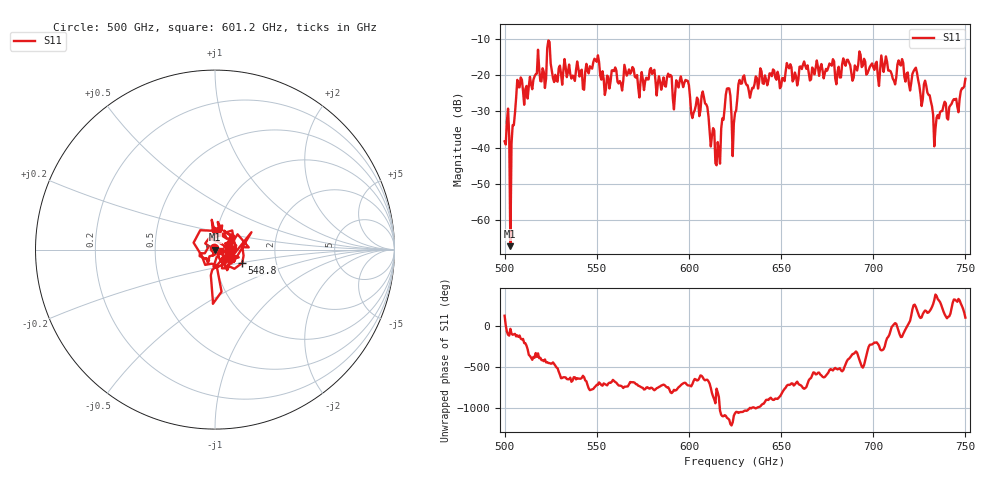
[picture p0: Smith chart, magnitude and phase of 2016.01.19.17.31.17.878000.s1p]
!Created with skrf (http://scikit-rf.org).
# GHz S RI R 50.0
!freq ReS11 ImS11
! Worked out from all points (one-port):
!   401 points, 500 GHz to 750 GHz, reference 50 ohm
!   lowest |S11| = -67.3 dB at 503.1 GHz (marker M1), VSWR 1.00, Z = 50 - j0.0267 ohm
!   |S11| at or under -10 dB: start of sweep to end of sweep
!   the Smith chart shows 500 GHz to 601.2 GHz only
!   S11 on the Smith chart (normalised r, x): 500 GHz: 0.99, +0.02; 548.8 GHz: 1.34, -0.21; 601.2 GHz: 1.06, -0.01
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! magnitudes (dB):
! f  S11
! 500 GHz  -38.3
! 503.1 GHz  -67.3
! 504.4 GHz  -33.8
! 505.6 GHz  -30.5
! 508.1 GHz  -23.4
! 521.2 GHz  -19.1
! 524.4 GHz  -10.8
! 527.5 GHz  -19.9
! 531.2 GHz  -22.6
! 548.8 GHz  -15.4
! 562.5 GHz  -21.6
! 568.8 GHz  -19.1
! 593.8 GHz  -22.2
! 598.8 GHz  -21.5
! 601.2 GHz  -30.5
! 608.1 GHz  -26.0
! 615.6 GHz  -38.5
! 621.2 GHz  -23.6
! 625 GHz  -30.4
! 628.8 GHz  -22.3
! 656.2 GHz  -21.7
! 687.5 GHz  -17.2
! 711.2 GHz  -21.5
! 715 GHz  -17.3
! 718.8 GHz  -19.2
! 728.8 GHz  -22.9
! 734.4 GHz  -31.7
! 750 GHz  -21.0
